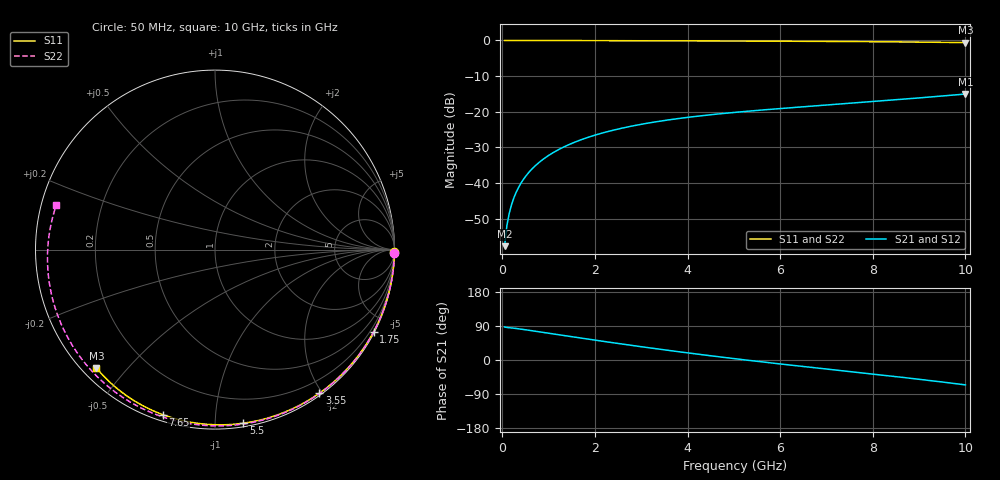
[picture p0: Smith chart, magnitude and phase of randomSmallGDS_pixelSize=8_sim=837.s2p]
! freq	dB(S11)	phase(S11)	dB(S12)	phase(S12)
!  dB(S21)	phase(S21)	dB(S22)	phase(S22)
!S-par simulation data
#  GHz  S  DB  R 50
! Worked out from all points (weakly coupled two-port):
!   200 points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, 50 MHz to 10 GHz, reference 50 ohm
!   highest |S21| = -15.03 dB at 10 GHz (marker M1); lowest = -57.7 dB at 50 MHz (marker M2)
!   lowest |S11| = -0.6 dB at 10 GHz (marker M3), VSWR 28.95, Z = 2.02 - j20.6 ohm
!   |S11| at or under -10 dB: nowhere
!   |S22| runs from -0.7 to 0.0 dB; largest |S21 - S12| = 0
!   S11 on the Smith chart (normalised r, x): 50 MHz: open; 1.75 GHz: 0.04, -4.12; 3.55 GHz: 0.03, -1.96; 5.5 GHz: 0.02, -1.18; 7.65 GHz: 0.03, -0.73; 10 GHz: 0.04, -0.41
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0.05  -0.00 -0.8  -57.67 87.0  -57.67 87.0  -0.00 -1.1
0.1  -0.00 -1.6  -51.87 85.9  -51.87 85.9  -0.00 -2.2
0.15  -0.00 -2.4  -48.46 85.3  -48.46 85.3  -0.00 -3.4
0.2  -0.00 -3.2  -46.02 84.7  -46.02 84.7  -0.00 -4.5
0.25  -0.00 -4.0  -44.11 84.0  -44.11 84.0  -0.00 -5.6
0.35  -0.00 -5.6  -41.23 82.4  -41.23 82.4  -0.01 -7.9
0.5  -0.01 -7.9  -38.16 79.8  -38.16 79.8  -0.01 -11.2
0.7  -0.01 -11.1  -35.27 76.2  -35.27 76.2  -0.02 -15.7
1  -0.02 -15.7  -32.24 70.7  -32.24 70.7  -0.03 -22.3
1.35  -0.03 -21.2  -29.73 64.2  -29.73 64.2  -0.04 -29.9
1.75  -0.04 -27.3  -27.61 56.9  -27.61 56.9  -0.06 -38.5
2.6  -0.07 -40.1  -24.54 41.9  -24.54 41.9  -0.09 -56.4
3.4  -0.09 -51.8  -22.64 28.4  -22.64 28.4  -0.12 -72.5
3.55  -0.10 -54.0  -22.34 26.0  -22.34 26.0  -0.12 -75.5
4.3  -0.12 -64.6  -21.11 14.2  -21.11 14.2  -0.16 -90.0
5.05  -0.15 -74.8  -20.12 3.0  -20.12 3.0  -0.20 -103.9
5.5  -0.17 -80.7  -19.62 -3.5  -19.62 -3.5  -0.22 -112.1
6.7  -0.24 -96.0  -18.40 -19.9  -18.40 -19.9  -0.31 -133.6
7.65  -0.31 -107.6  -17.48 -32.4  -17.48 -32.4  -0.40 -150.6
8.35  -0.38 -116.0  -16.78 -41.8  -16.78 -41.8  -0.49 -163.3
9.2  -0.48 -125.9  -15.89 -53.7  -15.89 -53.7  -0.61 -179.5
10  -0.60 -135.1  -15.03 -65.6  -15.03 -65.6  -0.74 164.2
